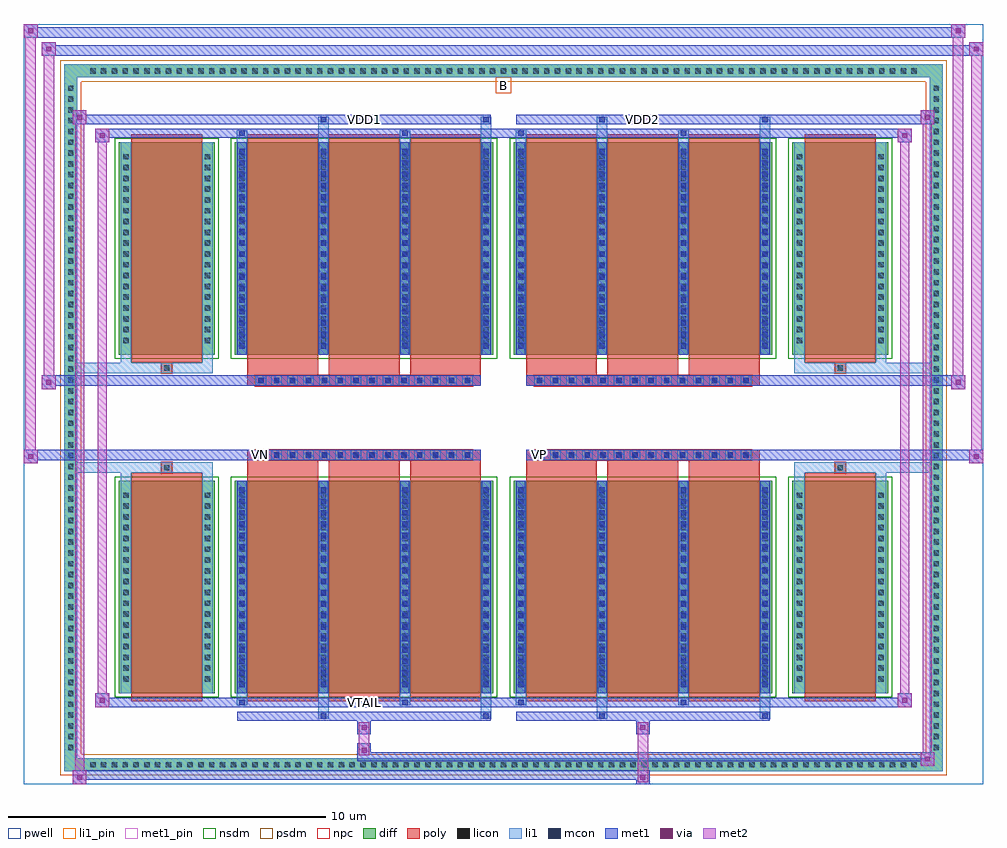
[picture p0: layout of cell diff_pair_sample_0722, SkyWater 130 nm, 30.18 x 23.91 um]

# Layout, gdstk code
import gdstk
lib = gdstk.Library(unit=1e-6, precision=5e-09)
def R(c, l, rs):  # rectangles x0, y0, x1, y1
    for r in rs: c.add(gdstk.rectangle(r[:2], r[2:], *l))
def A(c, l, x, y, w, h, nx, ny, dx, dy):  # array of equal rectangles
    R(c, l, [(x+i*dx, y+j*dy, x+i*dx+w, y+j*dy+h) for i in range(nx) for j in range(ny)])
def P(c, l, *ps):  # polygons
    for p in ps: c.add(gdstk.Polygon(p, *l))
pwell = (64, 44)
diff = (65, 20)
poly = (66, 20)
licon = (66, 44)
li1_pin = (67, 16)
li1 = (67, 20)
mcon = (67, 44)
met1_pin = (68, 16)
met1 = (68, 20)
via = (68, 44)
met2 = (69, 20)
nsdm = (93, 44)
psdm = (94, 20)
npc = (95, 20)

diff_pair_sample_0722 = lib.new_cell('diff_pair_sample_0722')
R(diff_pair_sample_0722, pwell, [(-15.09,-11.52,15.09,12.39), (-12.41,-9.71,-0.01,-0.805), (0.01,-9.71,12.41,-0.805), (-12.41,0.805,-0.01,9.71), (0.01,0.805,12.41,9.71)])
A(diff_pair_sample_0722, diff, -13.125, -11.12, 0.41, 0.41, 77, 2, 0.34, 21.83)
A(diff_pair_sample_0722, diff, -13.82, -10.575, 0.41, 0.41, 1, 62, 0, 0.34)
A(diff_pair_sample_0722, diff, 13.41, -10.575, 0.41, 0.41, 1, 62, 0, 0.34)
R(diff_pair_sample_0722, diff, [(-13.125,-11.12,13.125,-10.71), (-13.82,-10.575,-13.41,10.575), (13.41,-10.575,13.82,10.575), (-12.1,-8.665,-9.09,-1.985), (-8.45,-8.665,-0.32,-1.985), (0.32,-8.665,8.45,-1.985), (9.09,-8.665,12.1,-1.985), (-12.1,1.985,-9.09,8.665), (-8.45,1.985,-0.32,8.665), (0.32,1.985,8.45,8.665), (9.09,1.985,12.1,8.665), (-13.125,10.71,13.125,11.12)])
P(diff_pair_sample_0722, diff, [(13.82,11.12),(-13.82,11.12),(-13.82,-10.71),(-13.41,-10.71),(-13.41,10.71),(13.41,10.71),(13.41,-10.71),(-13.41,-10.71),(-13.82,-10.71),(-13.82,-11.12),(13.82,-11.12)])
A(diff_pair_sample_0722, poly, -8.06, -8.915, 2.23, 7.18, 3, 2, 2.56, 10.65)
A(diff_pair_sample_0722, poly, 0.71, -8.915, 2.23, 7.18, 3, 2, 2.56, 10.65)
A(diff_pair_sample_0722, poly, -8.06, -1.735, 2.23, 0.4, 3, 2, 2.56, 3.07)
A(diff_pair_sample_0722, poly, 0.71, -1.735, 2.23, 0.4, 3, 2, 2.56, 3.07)
A(diff_pair_sample_0722, poly, -7.8, -1.335, 0.33, 0.33, 14, 2, 0.5, 2.34)
A(diff_pair_sample_0722, poly, 0.97, -1.335, 0.33, 0.33, 14, 2, 0.5, 2.34)
R(diff_pair_sample_0722, poly, [(-11.71,-8.915,-9.48,-1.735), (9.48,-8.915,11.71,-1.735), (-10.76,-1.735,-10.43,-1.405), (-10.76,-1.735,-10.43,-1.405), (10.43,-1.735,10.76,-1.405), (10.43,-1.735,10.76,-1.405), (-8.06,-1.335,-0.71,-1.005), (0.71,-1.335,8.06,-1.005), (-8.06,1.005,-0.71,1.335), (0.71,1.005,8.06,1.335), (-10.76,1.405,-10.43,1.735), (-10.76,1.405,-10.43,1.735), (10.43,1.405,10.76,1.735), (10.43,1.405,10.76,1.735), (-11.71,1.735,-9.48,8.915), (9.48,1.735,11.71,8.915)])
A(diff_pair_sample_0722, licon, -13.005, -11, 0.17, 0.17, 77, 2, 0.34, 21.83)
A(diff_pair_sample_0722, licon, -13.7, -10.455, 0.17, 0.17, 1, 62, 0, 0.34)
A(diff_pair_sample_0722, licon, 13.53, -10.455, 0.17, 0.17, 1, 62, 0, 0.34)
A(diff_pair_sample_0722, licon, -11.96, -8.3, 0.17, 0.17, 1, 18, 0, 0.34)
A(diff_pair_sample_0722, licon, -9.4, -8.3, 0.17, 0.17, 1, 18, 0, 0.34)
A(diff_pair_sample_0722, licon, -8.31, -8.3, 0.17, 0.17, 4, 18, 2.56, 0.34)
A(diff_pair_sample_0722, licon, 0.46, -8.3, 0.17, 0.17, 4, 18, 2.56, 0.34)
A(diff_pair_sample_0722, licon, 9.23, -8.3, 0.17, 0.17, 1, 18, 0, 0.34)
A(diff_pair_sample_0722, licon, 11.79, -8.3, 0.17, 0.17, 1, 18, 0, 0.34)
A(diff_pair_sample_0722, licon, -7.72, -1.255, 0.17, 0.17, 14, 2, 0.5, 2.34)
A(diff_pair_sample_0722, licon, 1.05, -1.255, 0.17, 0.17, 14, 2, 0.5, 2.34)
A(diff_pair_sample_0722, licon, -11.96, 2.35, 0.17, 0.17, 1, 18, 0, 0.34)
A(diff_pair_sample_0722, licon, -9.4, 2.35, 0.17, 0.17, 1, 18, 0, 0.34)
A(diff_pair_sample_0722, licon, -8.31, 2.35, 0.17, 0.17, 4, 18, 2.56, 0.34)
A(diff_pair_sample_0722, licon, 0.46, 2.35, 0.17, 0.17, 4, 18, 2.56, 0.34)
A(diff_pair_sample_0722, licon, 9.23, 2.35, 0.17, 0.17, 1, 18, 0, 0.34)
A(diff_pair_sample_0722, licon, 11.79, 2.35, 0.17, 0.17, 1, 18, 0, 0.34)
R(diff_pair_sample_0722, licon, [(-10.68,-1.655,-10.51,-1.485), (10.51,-1.655,10.68,-1.485), (-10.68,1.485,-10.51,1.655), (10.51,1.485,10.68,1.655)])
R(diff_pair_sample_0722, li1_pin, [(-0.25,10.21,0.25,10.71)])
A(diff_pair_sample_0722, li1, -13.085, -11.08, 0.33, 0.33, 77, 2, 0.34, 21.83)
A(diff_pair_sample_0722, li1, -13.78, -10.535, 0.33, 0.33, 1, 62, 0, 0.34)
A(diff_pair_sample_0722, li1, 13.45, -10.535, 0.33, 0.33, 1, 62, 0, 0.34)
A(diff_pair_sample_0722, li1, -8.39, -8.665, 0.33, 6.68, 4, 2, 2.56, 10.65)
A(diff_pair_sample_0722, li1, 0.38, -8.665, 0.33, 6.68, 4, 2, 2.56, 10.65)
A(diff_pair_sample_0722, li1, -8.31, -8.47, 0.17, 0.17, 4, 18, 2.56, 0.36)
A(diff_pair_sample_0722, li1, -8.31, -8.47, 0.17, 6.29, 4, 2, 2.56, 10.65)
A(diff_pair_sample_0722, li1, 0.46, -8.47, 0.17, 0.17, 4, 18, 2.56, 0.36)
A(diff_pair_sample_0722, li1, 0.46, -8.47, 0.17, 6.29, 4, 2, 2.56, 10.65)
A(diff_pair_sample_0722, li1, -12.04, -8.38, 0.33, 0.33, 1, 18, 0, 0.34)
A(diff_pair_sample_0722, li1, -9.48, -8.38, 0.33, 0.33, 1, 18, 0, 0.34)
A(diff_pair_sample_0722, li1, -8.39, -8.38, 0.33, 0.33, 4, 18, 2.56, 0.34)
A(diff_pair_sample_0722, li1, 0.38, -8.38, 0.33, 0.33, 4, 18, 2.56, 0.34)
A(diff_pair_sample_0722, li1, 9.15, -8.38, 0.33, 0.33, 1, 18, 0, 0.34)
A(diff_pair_sample_0722, li1, 11.71, -8.38, 0.33, 0.33, 1, 18, 0, 0.34)
A(diff_pair_sample_0722, li1, -7.8, -1.335, 0.33, 0.33, 14, 2, 0.5, 2.34)
A(diff_pair_sample_0722, li1, 0.97, -1.335, 0.33, 0.33, 14, 2, 0.5, 2.34)
A(diff_pair_sample_0722, li1, -8.31, 2.18, 0.17, 0.17, 4, 18, 2.56, 0.36)
A(diff_pair_sample_0722, li1, 0.46, 2.18, 0.17, 0.17, 4, 18, 2.56, 0.36)
A(diff_pair_sample_0722, li1, -12.04, 2.27, 0.33, 0.33, 1, 18, 0, 0.34)
A(diff_pair_sample_0722, li1, -9.48, 2.27, 0.33, 0.33, 1, 18, 0, 0.34)
A(diff_pair_sample_0722, li1, -8.39, 2.27, 0.33, 0.33, 4, 18, 2.56, 0.34)
A(diff_pair_sample_0722, li1, 0.38, 2.27, 0.33, 0.33, 4, 18, 2.56, 0.34)
A(diff_pair_sample_0722, li1, 9.15, 2.27, 0.33, 0.33, 1, 18, 0, 0.34)
A(diff_pair_sample_0722, li1, 11.71, 2.27, 0.33, 0.33, 1, 18, 0, 0.34)
R(diff_pair_sample_0722, li1, [(-13.82,-11.12,-13.41,-10.71), (-13.82,-11.12,-13.41,-10.71), (-13.41,-11.12,13.41,-10.71), (13.41,-11.12,13.82,-10.71), (13.41,-11.12,13.82,-10.71), (-13.82,-10.71,-13.41,10.71), (13.41,-10.71,13.82,10.71), (-5.83,-9.47,-5.5,-8.665), (-5.75,-9.47,-5.58,-9.3), (-0.71,-9.47,-0.38,-8.665), (-0.63,-9.47,-0.46,-9.3), (2.94,-9.47,3.27,-8.665), (3.02,-9.47,3.19,-9.3), (8.06,-9.47,8.39,-8.665), (8.14,-9.47,8.31,-9.3), (-8.39,-9.04,-8.06,-8.665), (-8.31,-9.04,-8.14,-8.87), (-3.27,-9.04,-2.94,-8.665), (-3.19,-9.04,-3.02,-8.87), (0.38,-9.04,0.71,-8.665), (0.46,-9.04,0.63,-8.87), (5.5,-9.04,5.83,-8.665), (5.58,-9.04,5.75,-8.87), (-12.04,-8.665,-11.71,-1.985), (-9.48,-8.665,-9.15,-1.985), (9.15,-8.665,9.48,-1.985), (11.71,-8.665,12.04,-1.985), (-12.04,-1.985,-11.71,-1.405), (-9.48,-1.985,-9.15,-1.405), (9.15,-1.985,9.48,-1.405), (11.71,-1.985,12.04,-1.405), (-13.82,-1.735,-10.76,-1.405), (-12.04,-1.735,-10.76,-1.405), (-10.76,-1.735,-10.43,-1.405), (-10.43,-1.735,-9.15,-1.405), (9.15,-1.735,10.43,-1.405), (10.43,-1.735,10.76,-1.405), (10.43,-1.735,13.82,-1.405), (10.76,-1.735,12.04,-1.405), (-13.82,1.405,-10.76,1.735), (-12.04,1.405,-10.76,1.735), (-12.04,1.405,-11.71,1.985), (-10.76,1.405,-10.43,1.735), (-10.43,1.405,-9.15,1.735), (-9.48,1.405,-9.15,1.985), (9.15,1.405,10.43,1.735), (9.15,1.405,9.48,1.985), (10.43,1.405,10.76,1.735), (10.43,1.405,13.82,1.735), (10.76,1.405,12.04,1.735), (11.71,1.405,12.04,1.985), (-12.04,1.985,-11.71,8.665), (-9.48,1.985,-9.15,8.665), (9.15,1.985,9.48,8.665), (11.71,1.985,12.04,8.665), (-8.39,8.665,-8.06,9.04), (-5.83,8.665,-5.5,9.47), (-3.27,8.665,-2.94,9.04), (-0.71,8.665,-0.38,9.47), (0.38,8.665,0.71,9.04), (2.94,8.665,3.27,9.47), (5.5,8.665,5.83,9.04), (8.06,8.665,8.39,9.47), (-8.31,8.87,-8.14,9.04), (-3.19,8.87,-3.02,9.04), (0.46,8.87,0.63,9.04), (5.58,8.87,5.75,9.04), (-5.75,9.3,-5.58,9.47), (-0.63,9.3,-0.46,9.47), (3.02,9.3,3.19,9.47), (8.14,9.3,8.31,9.47), (-13.82,10.71,-13.41,11.12), (-13.82,10.71,-13.41,11.12), (-13.41,10.71,13.41,11.12), (13.41,10.71,13.82,11.12), (13.41,10.71,13.82,11.12)])
A(diff_pair_sample_0722, mcon, -8.31, -8.47, 0.17, 0.17, 4, 18, 2.56, 0.36)
A(diff_pair_sample_0722, mcon, 0.46, -8.47, 0.17, 0.17, 4, 18, 2.56, 0.36)
A(diff_pair_sample_0722, mcon, -7.72, -1.255, 0.17, 0.17, 14, 2, 0.5, 2.34)
A(diff_pair_sample_0722, mcon, 1.05, -1.255, 0.17, 0.17, 14, 2, 0.5, 2.34)
A(diff_pair_sample_0722, mcon, -8.31, 2.18, 0.17, 0.17, 4, 18, 2.56, 0.36)
A(diff_pair_sample_0722, mcon, 0.46, 2.18, 0.17, 0.17, 4, 18, 2.56, 0.36)
R(diff_pair_sample_0722, mcon, [(-5.75,-9.47,-5.58,-9.3), (-0.63,-9.47,-0.46,-9.3), (3.02,-9.47,3.19,-9.3), (8.14,-9.47,8.31,-9.3), (-8.31,-9.04,-8.14,-8.87), (-3.19,-9.04,-3.02,-8.87), (0.46,-9.04,0.63,-8.87), (5.58,-9.04,5.75,-8.87), (-8.31,8.87,-8.14,9.04), (-3.19,8.87,-3.02,9.04), (0.46,8.87,0.63,9.04), (5.58,8.87,5.75,9.04), (-5.75,9.3,-5.58,9.47), (-0.63,9.3,-0.46,9.47), (3.02,9.3,3.19,9.47), (8.14,9.3,8.31,9.47)])
R(diff_pair_sample_0722, met1_pin, [(-4.52,-9.08,-4.25,-8.81), (-7.77,-1.295,-7.5,-1.025), (1,-1.295,1.27,-1.025), (-4.52,9.26,-4.25,9.53), (4.25,9.26,4.52,9.53)])
A(diff_pair_sample_0722, met1, -8.37, -8.665, 0.29, 6.68, 4, 2, 2.56, 10.65)
A(diff_pair_sample_0722, met1, 0.4, -8.665, 0.29, 6.68, 4, 2, 2.56, 10.65)
A(diff_pair_sample_0722, met1, -8.37, -8.53, 0.29, 0.29, 4, 18, 2.56, 0.36)
A(diff_pair_sample_0722, met1, 0.4, -8.53, 0.29, 0.29, 4, 18, 2.56, 0.36)
A(diff_pair_sample_0722, met1, -7.78, -1.315, 0.29, 0.29, 14, 2, 0.5, 2.34)
A(diff_pair_sample_0722, met1, 0.99, -1.315, 0.29, 0.29, 14, 2, 0.5, 2.34)
A(diff_pair_sample_0722, met1, -8.37, 2.12, 0.29, 0.29, 4, 18, 2.56, 0.36)
A(diff_pair_sample_0722, met1, 0.4, 2.12, 0.29, 0.29, 4, 18, 2.56, 0.36)
R(diff_pair_sample_0722, met1, [(-13.55,-11.52,-13.12,-11.09), (4.17,-11.52,4.6,-11.09), (-13.55,-11.38,4.6,-11.09), (13.12,-10.95,13.55,-10.52), (-4.6,-10.81,13.55,-10.52), (-4.6,-10.67,-4.17,-10.24), (-4.6,-9.96,-4.17,-9.53), (4.17,-9.96,4.6,-9.53), (-8.37,-9.53,-0.4,-9.24), (-5.81,-9.53,-5.52,-9.24), (-0.69,-9.53,-0.4,-9.24), (0.4,-9.53,8.37,-9.24), (2.96,-9.53,3.25,-9.24), (8.08,-9.53,8.37,-9.24), (-12.84,-9.1,-12.41,-8.67), (-12.84,-9.1,-8.37,-8.81), (-8.37,-9.1,-8.08,-8.81), (-8.37,-9.1,-0.4,-8.81), (-3.25,-9.1,-2.96,-8.81), (-0.4,-9.1,0.4,-8.81), (0.4,-9.1,0.69,-8.81), (0.4,-9.1,8.37,-8.81), (5.52,-9.1,5.81,-8.81), (8.37,-9.1,12.84,-8.81), (12.41,-9.1,12.84,-8.67), (-15.09,-1.435,-14.66,-1.005), (14.66,-1.435,15.09,-1.005), (-15.09,-1.335,-0.71,-1.005), (-8.06,-1.335,-0.71,-1.005), (0.71,-1.335,8.06,-1.005), (0.71,-1.335,15.09,-1.005), (-14.52,0.905,-14.09,1.335), (14.09,0.905,14.52,1.335), (-14.52,1.005,-8.06,1.335), (-8.06,1.005,-0.71,1.335), (0.71,1.005,8.06,1.335), (8.06,1.005,14.52,1.335), (-12.84,8.67,-12.41,9.1), (12.41,8.67,12.84,9.1), (-12.84,8.81,-8.37,9.1), (-8.37,8.81,-8.08,9.1), (-8.37,8.81,-0.4,9.1), (-3.25,8.81,-2.96,9.1), (-0.4,8.81,0.4,9.1), (0.4,8.81,0.69,9.1), (0.4,8.81,8.37,9.1), (5.52,8.81,5.81,9.1), (8.37,8.81,12.84,9.1), (-13.55,9.24,-13.12,9.67), (-13.55,9.24,-8.37,9.53), (-8.37,9.24,-0.4,9.53), (-5.81,9.24,-5.52,9.53), (-0.69,9.24,-0.4,9.53), (0.4,9.24,8.37,9.53), (2.96,9.24,3.25,9.53), (8.08,9.24,8.37,9.53), (8.37,9.24,13.55,9.53), (13.12,9.24,13.55,9.67), (-14.52,11.39,-14.09,11.82), (-14.52,11.39,-12.41,11.72), (-12.41,11.39,12.41,11.72), (12.41,11.39,15.09,11.72), (14.66,11.39,15.09,11.82), (-15.09,11.96,-14.66,12.39), (-15.09,11.96,-12.41,12.29), (-12.41,11.96,12.41,12.29), (12.41,11.96,14.52,12.29), (14.09,11.96,14.52,12.39)])
R(diff_pair_sample_0722, via, [(-13.41,-11.38,-13.26,-11.23), (4.31,-11.38,4.46,-11.23), (13.26,-10.81,13.41,-10.66), (-4.46,-10.53,-4.31,-10.38), (-4.46,-9.82,-4.31,-9.67), (4.31,-9.82,4.46,-9.67), (-12.7,-8.96,-12.55,-8.81), (12.55,-8.96,12.7,-8.81), (-14.95,-1.295,-14.8,-1.145), (14.8,-1.295,14.95,-1.145), (-14.38,1.045,-14.23,1.195), (14.23,1.045,14.38,1.195), (-12.7,8.81,-12.55,8.96), (12.55,8.81,12.7,8.96), (-13.41,9.38,-13.26,9.53), (13.26,9.38,13.41,9.53), (-14.38,11.53,-14.23,11.68), (14.8,11.53,14.95,11.68), (-14.95,12.1,-14.8,12.25), (14.23,12.1,14.38,12.25)])
R(diff_pair_sample_0722, met2, [(-13.55,-11.52,-13.12,-11.09), (-13.48,-11.52,-13.19,9.67), (-13.19,-11.52,-13.12,-11.09), (-13.5,-11.47,-13.17,-11.14), (4.22,-11.47,4.55,-11.14), (4.22,-11.14,4.55,-9.91), (13.12,-10.95,13.55,-10.52), (13.19,-10.95,13.48,9.67), (13.48,-10.95,13.55,-10.52), (13.17,-10.9,13.5,-10.57), (-4.55,-10.62,-4.22,-10.29), (-4.55,-10.29,-4.22,-9.91), (-4.55,-9.91,-4.22,-9.58), (4.22,-9.91,4.55,-9.58), (-12.84,-9.1,-12.41,-8.67), (-12.77,-9.1,-12.48,9.1), (-12.48,-9.1,-12.41,-8.67), (12.41,-9.1,12.84,-8.67), (12.48,-9.1,12.77,9.1), (12.77,-9.1,12.84,-8.67), (-12.79,-9.05,-12.46,-8.72), (12.46,-9.05,12.79,-8.72), (-15.09,-1.435,-14.66,-1.005), (-15.04,-1.435,-14.71,12.39), (-14.71,-1.435,-14.66,-1.005), (14.66,-1.435,15.09,-1.005), (14.71,-1.435,15.04,11.82), (15.04,-1.435,15.09,-1.005), (-15.04,-1.385,-14.71,-1.055), (14.71,-1.385,15.04,-1.055), (-14.52,0.905,-14.09,1.335), (-14.47,0.905,-14.14,11.82), (-14.14,0.905,-14.09,1.335), (14.09,0.905,14.52,1.335), (14.14,0.905,14.47,12.39), (14.47,0.905,14.52,1.335), (-14.47,0.955,-14.14,1.285), (14.14,0.955,14.47,1.285), (-12.84,8.67,-12.41,9.1), (-12.48,8.67,-12.41,9.1), (12.41,8.67,12.84,9.1), (12.77,8.67,12.84,9.1), (-12.79,8.72,-12.46,9.05), (12.46,8.72,12.79,9.05), (-13.55,9.24,-13.12,9.67), (-13.19,9.24,-13.12,9.67), (13.12,9.24,13.55,9.67), (13.48,9.24,13.55,9.67), (-13.5,9.29,-13.17,9.62), (13.17,9.29,13.5,9.62), (-14.52,11.39,-14.09,11.82), (-14.14,11.39,-14.09,11.82), (14.66,11.39,15.09,11.82), (15.04,11.39,15.09,11.82), (-14.47,11.44,-14.14,11.77), (14.71,11.44,15.04,11.77), (-15.09,11.96,-14.66,12.39), (-14.71,11.96,-14.66,12.39), (14.09,11.96,14.52,12.39), (14.47,11.96,14.52,12.39), (-15.04,12.01,-14.71,12.34), (14.14,12.01,14.47,12.34)])
R(diff_pair_sample_0722, nsdm, [(-12.23,-8.795,-8.96,-1.855), (-8.58,-8.795,-0.19,-1.855), (0.19,-8.795,8.58,-1.855), (8.96,-8.795,12.23,-1.855), (-12.23,1.855,-8.96,8.795), (-8.58,1.855,-0.19,8.795), (0.19,1.855,8.58,8.795), (8.96,1.855,12.23,8.795)])
P(diff_pair_sample_0722, psdm, [(13.95,11.25),(-13.95,11.25),(-13.95,-10.58),(-13.28,-10.58),(-13.28,10.58),(13.28,10.58),(13.28,-10.58),(-13.28,-10.58),(-13.95,-10.58),(-13.95,-11.25),(13.95,-11.25)])
A(diff_pair_sample_0722, npc, -7.82, -1.355, 0.37, 0.37, 14, 2, 0.5, 2.34)
A(diff_pair_sample_0722, npc, 0.95, -1.355, 0.37, 0.37, 14, 2, 0.5, 2.34)
R(diff_pair_sample_0722, npc, [(-10.78,-1.755,-10.41,-1.385), (10.41,-1.755,10.78,-1.385), (-7.82,-1.355,-6.95,-0.985), (-7.82,-1.355,-6.95,-0.985), (-7.32,-1.355,-6.45,-0.985), (-7.32,-1.355,-6.45,-0.985), (-6.82,-1.355,-5.95,-0.985), (-6.82,-1.355,-5.95,-0.985), (-6.32,-1.355,-5.45,-0.985), (-6.32,-1.355,-5.45,-0.985), (-5.82,-1.355,-4.95,-0.985), (-5.82,-1.355,-4.95,-0.985), (-5.32,-1.355,-4.45,-0.985), (-5.32,-1.355,-4.45,-0.985), (-4.82,-1.355,-3.95,-0.985), (-4.82,-1.355,-3.95,-0.985), (-4.32,-1.355,-3.45,-0.985), (-4.32,-1.355,-3.45,-0.985), (-3.82,-1.355,-2.95,-0.985), (-3.82,-1.355,-2.95,-0.985), (-3.32,-1.355,-2.45,-0.985), (-3.32,-1.355,-2.45,-0.985), (-2.82,-1.355,-1.95,-0.985), (-2.82,-1.355,-1.95,-0.985), (-2.32,-1.355,-1.45,-0.985), (-2.32,-1.355,-1.45,-0.985), (-1.82,-1.355,-0.95,-0.985), (-1.82,-1.355,-0.95,-0.985), (0.95,-1.355,1.82,-0.985), (0.95,-1.355,1.82,-0.985), (1.45,-1.355,2.32,-0.985), (1.45,-1.355,2.32,-0.985), (1.95,-1.355,2.82,-0.985), (1.95,-1.355,2.82,-0.985), (2.45,-1.355,3.32,-0.985), (2.45,-1.355,3.32,-0.985), (2.95,-1.355,3.82,-0.985), (2.95,-1.355,3.82,-0.985), (3.45,-1.355,4.32,-0.985), (3.45,-1.355,4.32,-0.985), (3.95,-1.355,4.82,-0.985), (3.95,-1.355,4.82,-0.985), (4.45,-1.355,5.32,-0.985), (4.45,-1.355,5.32,-0.985), (4.95,-1.355,5.82,-0.985), (4.95,-1.355,5.82,-0.985), (5.45,-1.355,6.32,-0.985), (5.45,-1.355,6.32,-0.985), (5.95,-1.355,6.82,-0.985), (5.95,-1.355,6.82,-0.985), (6.45,-1.355,7.32,-0.985), (6.45,-1.355,7.32,-0.985), (6.95,-1.355,7.82,-0.985), (6.95,-1.355,7.82,-0.985), (-7.82,0.985,-6.95,1.355), (-7.82,0.985,-6.95,1.355), (-7.32,0.985,-6.45,1.355), (-7.32,0.985,-6.45,1.355), (-6.82,0.985,-5.95,1.355), (-6.82,0.985,-5.95,1.355), (-6.32,0.985,-5.45,1.355), (-6.32,0.985,-5.45,1.355), (-5.82,0.985,-4.95,1.355), (-5.82,0.985,-4.95,1.355), (-5.32,0.985,-4.45,1.355), (-5.32,0.985,-4.45,1.355), (-4.82,0.985,-3.95,1.355), (-4.82,0.985,-3.95,1.355), (-4.32,0.985,-3.45,1.355), (-4.32,0.985,-3.45,1.355), (-3.82,0.985,-2.95,1.355), (-3.82,0.985,-2.95,1.355), (-3.32,0.985,-2.45,1.355), (-3.32,0.985,-2.45,1.355), (-2.82,0.985,-1.95,1.355), (-2.82,0.985,-1.95,1.355), (-2.32,0.985,-1.45,1.355), (-2.32,0.985,-1.45,1.355), (-1.82,0.985,-0.95,1.355), (-1.82,0.985,-0.95,1.355), (0.95,0.985,1.82,1.355), (0.95,0.985,1.82,1.355), (1.45,0.985,2.32,1.355), (1.45,0.985,2.32,1.355), (1.95,0.985,2.82,1.355), (1.95,0.985,2.82,1.355), (2.45,0.985,3.32,1.355), (2.45,0.985,3.32,1.355), (2.95,0.985,3.82,1.355), (2.95,0.985,3.82,1.355), (3.45,0.985,4.32,1.355), (3.45,0.985,4.32,1.355), (3.95,0.985,4.82,1.355), (3.95,0.985,4.82,1.355), (4.45,0.985,5.32,1.355), (4.45,0.985,5.32,1.355), (4.95,0.985,5.82,1.355), (4.95,0.985,5.82,1.355), (5.45,0.985,6.32,1.355), (5.45,0.985,6.32,1.355), (5.95,0.985,6.82,1.355), (5.95,0.985,6.82,1.355), (6.45,0.985,7.32,1.355), (6.45,0.985,7.32,1.355), (6.95,0.985,7.82,1.355), (6.95,0.985,7.82,1.355), (-10.78,1.385,-10.41,1.755), (10.41,1.385,10.78,1.755)])
diff_pair_sample_0722.add(gdstk.Label('VTAIL', (-4.385,-8.945), layer=68, texttype=5))
diff_pair_sample_0722.add(gdstk.Label('VN', (-7.635,-1.16), layer=68, texttype=5))
diff_pair_sample_0722.add(gdstk.Label('VP', (1.135,-1.16), layer=68, texttype=5))
diff_pair_sample_0722.add(gdstk.Label('B', (0,10.46), layer=67, texttype=5))
diff_pair_sample_0722.add(gdstk.Label('VDD2', (4.385,9.395), layer=68, texttype=5))
diff_pair_sample_0722.add(gdstk.Label('VDD1', (-4.385,9.395), layer=68, texttype=5))

lib.write_gds('diff_pair_sample_0722.gds')
